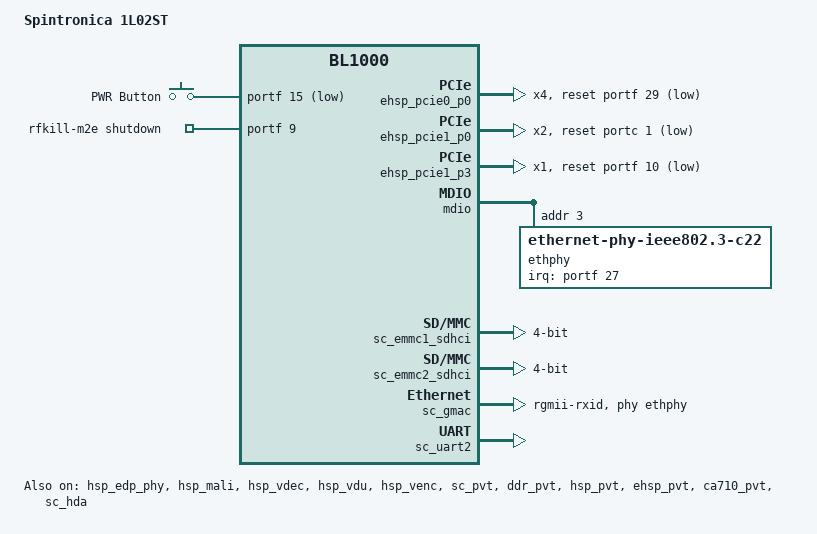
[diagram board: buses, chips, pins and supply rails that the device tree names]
// SPDX-License-Identifier: GPL-2.0
/*
 * Device tree source for Spintronica 1L02ST rev.3 board
 */

/dts-v1/;

#define USE_BL1000_PCIE1_SS_MODE	1

#include "bl1000.dtsi"
#include <dt-bindings/input/gpio-keys.h>
#include <dt-bindings/input/linux-event-codes.h>

/ {
	model = "Spintronica 1L02ST";
	compatible = "baikal,dbl", "baikal,bl1000";

	aliases {
		ethernet0 = &sc_gmac;
		fru = &fru;
		evdu = &ehsp_vdu;
		vdu = &hsp_vdu;
	};

	cpus {
		baikal,demand-qos = <12>;
		baikal,prefetch-qos = <10>;
		cpu@0 {
			baikal,enable-cbusy-tuning = <1>;
		};
		cpu@100 {
			baikal,enable-cbusy-tuning = <1>;
		};
		cpu@200 {
			baikal,enable-cbusy-tuning = <1>;
		};
		cpu@300 {
			baikal,enable-cbusy-tuning = <1>;
		};
	};

	chosen { };

	gpio-keys {
		compatible = "gpio-keys";
		pinctrl = <&hsp_lsp_pin14_gpio32>,
			  <&hsp_lsp_pin15_gpio32>; // ???
		pwr {
			label = "PWR Button";
			linux,code = <116>;
			gpios = <&portf 15 GPIO_ACTIVE_LOW>;
			wakeup-source;
			wakeup-event-action = <EV_ACT_DEASSERTED>;
		};
	};

	rfkill {
		compatible = "rfkill-gpio";
		label = "rfkill-m2e";
		radio-type = "wlan";
		shutdown-gpios = <&portf 9 GPIO_ACTIVE_HIGH>;
	};

};

&ehsp_pcie0_p0 {
	status = "okay";
	num-lanes = <4>;
	pinctrl = <&hsp_lsp_pin29_gpio32>;
	reset-gpios = <&portf 29 GPIO_ACTIVE_LOW>;
};

&ehsp_pcie1_p0 {
	status = "okay";
	num-lanes = <2>;
	reset-gpios = <&portc 1 GPIO_ACTIVE_LOW>;
};

&ehsp_pcie1_p3 {
	status = "okay";
	num-lanes = <1>;
	pinctrl = <&hsp_lsp_pin10_gpio32>;
	reset-gpios = <&portf 10 GPIO_ACTIVE_LOW>;
};

&hsp_edp_phy {
	status = "okay";
};

&edp_phy {
	cdns,num-lanes = <2>;
};

&hsp_lsp_pinctrl0 {
	status = "okay";
};

&hsp_lsp_pinctrl1 {
	status = "okay";
};

&hsp_lsp_pinctrl2 {
	status = "okay";
};

&hsp_mali {
	status = "okay";
	baikal,arqos = <10>;
	baikal,awqos = <10>;
};

&hsp_smmu {
	status = "okay";
};

&hsp_vdec {
	status = "okay";
	baikal,arqos = <14>;
	baikal,awqos = <14>;
};

&hsp_vdu {
	status = "okay";
	baikal,dp-lanes = <4>;
	baikal,arqos = <15>;
	backlight {
		min-brightness-level = <10>;
		default-brightness-level = <60>;
		brightness-level-step = <2>;
		pwm-frequency = <20000>;
	};
};

&hsp_venc {
	status = "okay";
};

&mdio {
	ethphy: ethernet-phy@3 {
		compatible = "ethernet-phy-ieee802.3-c22";
		reg = <0x3>;
		interrupt-parent = <&portf>;
		interrupts = <27 IRQ_TYPE_LEVEL_LOW>;
	};
};

&sc_emmc1_sdhci {
	status = "okay";
	pinctrl = <&sc_emmc_mux_emmc1>,
		  <&sc_emmc_hc1_1_8v>,
		  <&sc_emmc_hc1_mem_pwrup>,
		  <&sc_emmc_pu_hc1_cmd_dat_0_7>,
		  <&sc_emmc_pd_hc1_dqs>;
	bus-width = <4>;
};

&sc_emmc2_sdhci {
	status = "okay";
	pinctrl = <&sc_emmc_mux_emmc2>,
		  <&sc_emmc_hc2_1_8v>,
		  <&sc_emmc_hc2_mem_pwrup>,
		  <&sc_emmc_pu_hc2_cmd_dat_0_7>,
		  <&sc_emmc_pd_hc2_dqs>;
	bus-width = <4>;
};

&sc_emmc_pinctrl {
	status = "okay";
};

&sc_emmc_pu_pinctrl {
	status = "okay";
};

&sc_emmc_pd_pinctrl {
	status = "okay";
};

&sc_gmac {
	status = "okay";
	pinctrl = <&sc_gmac_sdio_bit0_mode1>,
		  <&hsp_lsp_pin26_gpio32>,
		  <&hsp_lsp_pin27_gpio32>;

	phy-handle = <&ethphy>;
	phy-mode = "rgmii-rxid";

	snps,reset-gpios = <&portf 26 GPIO_ACTIVE_LOW>;
	snps,reset-delays-us = <10 10200 60000>;
};

&sc_gmac_sdio_pinctrl {
	status = "okay";
};

&sc_gpio32 {
	status = "okay";
};

&hsp_gpio32 {
	status = "okay";
};

&sc_gpio30 {
	status = "okay";
};

&hsp_lsp_pinctrl0 {
	status = "okay";
};

&sc_lsp_pinctrl0 {
	status = "okay";
};

&sc_lsp_pinctrl1 {
	status = "okay";
};

&sc_lsp_pinctrl2 {
	status = "okay";
};

&sc_uart2 {
	status = "okay";
	pinctrl = <&sc_lsp_pin12_uart2_rxd>,
		  <&sc_lsp_pin13_uart2_txd>;
};

&sc_pvt {
	status = "okay";
};

&ddr_pvt {
	status = "okay";
};

&hsp_pvt {
	status = "okay";
};

&ehsp_pvt {
	status = "okay";
};

&ca710_pvt {
	status = "okay";
};

&sc_hda {
	status = "okay";
	pinctrl = <&sc_lsp_pin14_hda_rst>,
		  <&sc_lsp_pin15_hda_sync>,
		  <&sc_lsp_pin16_hda_bclk>,
		  <&sc_lsp_pin17_hda_sdo0>,
		  <&sc_lsp_pin18_hda_sdi0>;
	patch-data = "[codec]\n\
0x111d76d5 0x00000100 0\n\
[model]\n\
1l02st\n\
[verb]\n\
0x0d 0x707 0x40\n\
0x1f 0x71f 0x98\n\
0x1f 0x71e 0x46\n\
0x1f 0x71d 0x01\n\
[pincfg]\n\
0x0a 0x02a1101f\n\
0x0b 0x02211010\n\
0x0c 0x01a19020\n\
0x0e 0x01014021\n\
0x0f 0x01813040\n\
0x11 0x40000000\n\
0x1f 0x98460160\n\
0x20 0x40000000\n";
};

&ehsp_dp_phy {
	status = "okay";
};

&ehsp_vdu {
	status = "okay";
	baikal,dp-lanes = <4>;
	baikal,arqos = <15>;
};

&hsp_usb1_l0 {
	status = "okay";
	dr_mode = "host";
	maximum-speed = "super-speed";
	phys = <&hsp_usb1_phy10g_l0>;
	phy-names = "cdns3,usb3-phy";
};

&hsp_usb1_l1 {
	status = "okay";
	dr_mode = "host";
	maximum-speed = "high-speed";
	phys = <&hsp_usb1_phy10g_l1>;
	phy-names = "cdns3,usb3-phy";
};

&hsp_usb1_phy10g {
	status = "okay";
};

&hsp_usb1_phy10g_l0 {
	status = "okay";
};

&hsp_usb1_phy10g_l1 {
	status = "okay";
};

&sc_i2c1 {	// M2E
	status = "okay";
	pinctrl = <&sc_lsp_pin2_i2c1_scl>,
		  <&sc_lsp_pin3_i2c1_sda>;
};

&sc_i2c2 {
	status = "okay";
	pinctrl = <&sc_lsp_pin4_i2c2_scl>,
		  <&sc_lsp_pin5_i2c2_sda>;

	fru: eeprom@50 {
		compatible = "atmel,24c256";
		reg = <0x50>;
	};

	rtc: rtc@51 {
		compatible = "haoyu,hym8563";
		reg = <0x51>;
	};
};

&hsp_usb0_l0 {
	status = "okay";
	dr_mode = "host";
	maximum-speed = "super-speed";
	phys = <&hsp_usb0_phy10g_l0>;
	phy-names = "cdns3,usb3-phy";
};

&hsp_usb0_l1 {
	status = "okay";
	dr_mode = "host";
	maximum-speed = "super-speed";
	phys = <&hsp_usb0_phy10g_l1>;
	phy-names = "cdns3,usb3-phy";
};

&hsp_usb0_phy10g {
	status = "okay";
};

&hsp_usb0_phy10g_l0 {
	status = "okay";
};

&hsp_usb0_phy10g_l1 {
	status = "okay";
};

&sc_i2c3 {
	status = "okay";
	pinctrl = <&sc_lsp_pin6_i2c3_scl>,
		  <&sc_lsp_pin7_i2c3_sda>;

	edid: eeprom@50 {
		compatible = "atmel,24c32";
		pagesize = <32>;
		reg = <0x50>;
	};

	eeprom@54 {
		compatible = "st,m24256";
		reg = <0x54>;
	};
};

&sc_uart0 {
	status = "okay";
	pinctrl = <&sc_lsp_pin8_uart0_rxd>,
		  <&sc_lsp_pin9_uart0_txd>;
};

&sc_uart1 {
	status = "okay";
	pinctrl = <&sc_lsp_pin10_uart1_rxd>,
		  <&sc_lsp_pin11_uart1_txd>;
};

&sc_timer0 {
	status = "okay";
};

&sc_timer1 {
	status = "okay";
};

&sc_timer2 {
	status = "okay";
};

&sc_timer3 {
	status = "okay";
};

